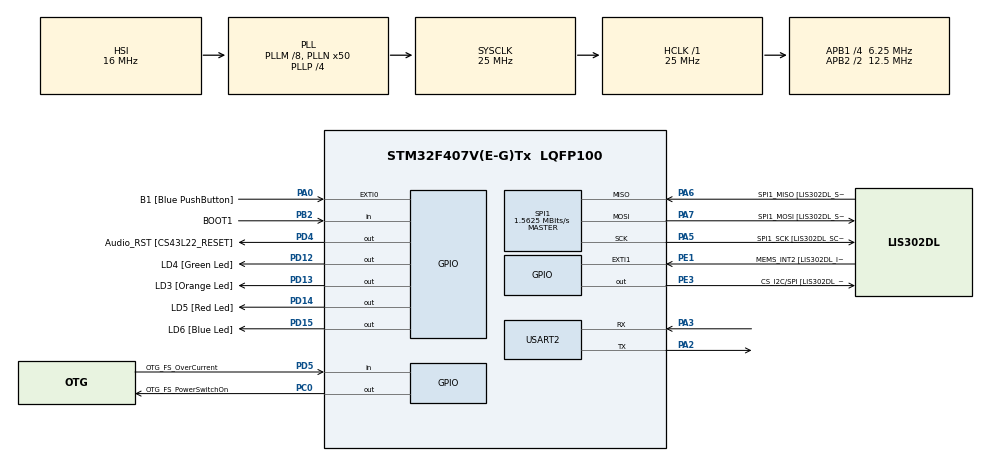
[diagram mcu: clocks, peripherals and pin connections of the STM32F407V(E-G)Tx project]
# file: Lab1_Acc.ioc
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Mcu.Family=STM32F4
Mcu.Name=STM32F407V(E-G)Tx
Mcu.Package=LQFP100
NVIC.PriorityGroup=NVIC_PRIORITYGROUP_0
PA0-WKUP.GPIO_Label=B1 [Blue PushButton]
PA0-WKUP.Signal=GPXTI0
PA10.GPIO_Label=OTG_FS_ID
PA10.GPIO_Mode=GPIO_MODE_AF_PP
PA10.GPIO_PuPd=GPIO_NOPULL
PA10.GPIO_Speed=GPIO_SPEED_FREQ_LOW
PA10.Signal=USB_OTG_FS_ID
PA11.GPIO_Label=OTG_FS_DM
PA11.GPIO_Mode=GPIO_MODE_AF_PP
PA11.GPIO_PuPd=GPIO_NOPULL
PA11.GPIO_Speed=GPIO_SPEED_FREQ_LOW
PA11.Signal=USB_OTG_FS_DM
PA12.GPIO_Label=OTG_FS_DP
PA12.GPIO_Mode=GPIO_MODE_AF_PP
PA12.GPIO_PuPd=GPIO_NOPULL
PA12.GPIO_Speed=GPIO_SPEED_FREQ_LOW
PA12.Signal=USB_OTG_FS_DP
PA13.GPIO_Label=SWDIO
PA13.Signal=SYS_JTMS-SWDIO
PA14.GPIO_Label=SWCLK
PA14.Signal=SYS_JTCK-SWCLK
PA2.Mode=Asynchronous
PA2.Signal=USART2_TX
PA3.Mode=Asynchronous
PA3.Signal=USART2_RX
PA4.GPIO_Label=I2S3_WS [CS43L22_LRCK]
PA4.GPIO_Mode=GPIO_MODE_AF_PP
PA4.GPIO_PuPd=GPIO_NOPULL
PA4.GPIO_Speed=GPIO_SPEED_FREQ_LOW
PA4.Signal=I2S3_WS
PA5.GPIO_Label=SPI1_SCK [LIS302DL_SCL/SPC]
PA5.GPIO_Mode=GPIO_MODE_AF_PP
PA5.GPIO_PuPd=GPIO_NOPULL
PA5.GPIO_Speed=GPIO_SPEED_FREQ_LOW
PA5.Mode=Full_Duplex_Master
PA5.Signal=SPI1_SCK
PA6.GPIO_Label=SPI1_MISO [LIS302DL_SDO]
PA6.GPIO_Mode=GPIO_MODE_AF_PP
PA6.GPIO_PuPd=GPIO_NOPULL
PA6.GPIO_Speed=GPIO_SPEED_FREQ_LOW
PA6.Mode=Full_Duplex_Master
PA6.Signal=SPI1_MISO
PA7.GPIO_Label=SPI1_MOSI [LIS302DL_SDA/SDI/SDO]
PA7.GPIO_Mode=GPIO_MODE_AF_PP
PA7.GPIO_PuPd=GPIO_NOPULL
PA7.GPIO_Speed=GPIO_SPEED_FREQ_LOW
PA7.Mode=Full_Duplex_Master
PA7.Signal=SPI1_MOSI
PA9.GPIO_Label=VBUS_FS
PA9.GPIO_Mode=GPIO_MODE_INPUT
PA9.GPIO_PuPd=GPIO_NOPULL
PA9.Signal=USB_OTG_FS_VBUS
PB10.GPIO_Label=CLK_IN [MP45DT02_CLK]
PB10.GPIO_Mode=GPIO_MODE_AF_PP
PB10.GPIO_PuPd=GPIO_NOPULL
PB10.GPIO_Speed=GPIO_SPEED_FREQ_LOW
PB10.Signal=I2S2_CK
PB2.GPIO_Label=BOOT1
PB2.GPIO_Mode=GPIO_MODE_INPUT
PB2.GPIO_PuPd=GPIO_NOPULL
PB2.Signal=GPIO_Input
PB3.GPIO_Label=SWO
PB3.Signal=SYS_JTDO-SWO
PB6.GPIO_Label=Audio_SCL [CS43L22_SCL]
PB6.GPIO_Mode=GPIO_MODE_AF_OD
PB6.GPIO_PuPd=GPIO_NOPULL
PB6.GPIO_Speed=GPIO_SPEED_FREQ_LOW
PB6.Signal=I2C1_SCL
PB9.GPIO_Label=Audio_SDA [CS43L22_SDA]
PB9.GPIO_Mode=GPIO_MODE_AF_OD
PB9.GPIO_PuPd=GPIO_NOPULL
PB9.GPIO_Speed=GPIO_SPEED_FREQ_LOW
PB9.Signal=I2C1_SDA
PC0.GPIO_Label=OTG_FS_PowerSwitchOn
PC0.GPIO_PuPd=GPIO_NOPULL
PC0.GPIO_Speed=GPIO_SPEED_FREQ_LOW
PC0.PinState=GPIO_PIN_SET
PC0.Signal=GPIO_Output
PC10.GPIO_Label=I2S3_SCK [CS43L22_SCLK]
PC10.GPIO_Mode=GPIO_MODE_AF_PP
PC10.GPIO_PuPd=GPIO_NOPULL
PC10.GPIO_Speed=GPIO_SPEED_FREQ_LOW
PC10.Signal=I2S3_CK
PC12.GPIO_Label=I2S3_SD [CS43L22_SDIN]
PC12.GPIO_Mode=GPIO_MODE_AF_PP
PC12.GPIO_PuPd=GPIO_NOPULL
PC12.GPIO_Speed=GPIO_SPEED_FREQ_LOW
PC12.Signal=I2S3_SD
PC14-OSC32_IN.GPIO_Label=PC14-OSC32_IN
PC14-OSC32_IN.Signal=RCC_OSC32_IN
PC15-OSC32_OUT.GPIO_Label=PC15-OSC32_OUT
PC15-OSC32_OUT.Signal=RCC_OSC32_OUT
PC3.GPIO_Label=PDM_OUT [MP45DT02_DOUT]
PC3.GPIO_Mode=GPIO_MODE_AF_PP
PC3.GPIO_PuPd=GPIO_NOPULL
PC3.GPIO_Speed=GPIO_SPEED_FREQ_LOW
PC3.Signal=I2S2_SD
PC7.GPIO_Label=I2S3_MCK [CS43L22_MCLK]
PC7.GPIO_Mode=GPIO_MODE_AF_PP
PC7.GPIO_PuPd=GPIO_NOPULL
PC7.GPIO_Speed=GPIO_SPEED_FREQ_LOW
PC7.Signal=I2S3_MCK
PD12.GPIO_Label=LD4 [Green Led]
PD12.GPIO_PuPd=GPIO_NOPULL
PD12.GPIO_Speed=GPIO_SPEED_FREQ_LOW
PD12.Signal=GPIO_Output
PD13.GPIO_Label=LD3 [Orange Led]
PD13.GPIO_PuPd=GPIO_NOPULL
PD13.GPIO_Speed=GPIO_SPEED_FREQ_LOW
PD13.Signal=GPIO_Output
PD14.GPIO_Label=LD5 [Red Led]
PD14.GPIO_PuPd=GPIO_NOPULL
PD14.GPIO_Speed=GPIO_SPEED_FREQ_LOW
PD14.Signal=GPIO_Output
PD15.GPIO_Label=LD6 [Blue Led]
PD15.GPIO_PuPd=GPIO_NOPULL
PD15.GPIO_Speed=GPIO_SPEED_FREQ_LOW
PD15.Signal=GPIO_Output
PD4.GPIO_Label=Audio_RST [CS43L22_RESET]
PD4.GPIO_PuPd=GPIO_NOPULL
PD4.GPIO_Speed=GPIO_SPEED_FREQ_LOW
PD4.Signal=GPIO_Output
PD5.GPIO_Label=OTG_FS_OverCurrent
PD5.GPIO_Mode=GPIO_MODE_INPUT
PD5.GPIO_PuPd=GPIO_NOPULL
PD5.Signal=GPIO_Input
PE1.GPIO_Label=MEMS_INT2 [LIS302DL_INT2]
PE1.GPIO_ModeDefaultEXTI=GPIO_MODE_EVT_RISING
PE1.GPIO_PuPd=GPIO_NOPULL
PE1.Signal=GPXTI1
PE3.GPIO_Label=CS_I2C/SPI [LIS302DL_CS_I2C/SPI]
PE3.GPIO_PuPd=GPIO_NOPULL
PE3.GPIO_Speed=GPIO_SPEED_FREQ_LOW
PE3.Signal=GPIO_Output
PH0-OSC_IN.GPIO_Label=PH0-OSC_IN
PH0-OSC_IN.Signal=RCC_OSC_IN
PH1-OSC_OUT.GPIO_Label=PH1-OSC_OUT
PH1-OSC_OUT.Signal=RCC_OSC_OUT
ProjectManager.HeapSize=0x200
ProjectManager.StackSize=0x400
ProjectManager.TargetToolchain=SW4STM32
RCC.48MHZClocksFreq_Value=14285714.285714285
RCC.AHBFreq_Value=25000000
RCC.APB1CLKDivider=RCC_HCLK_DIV4
RCC.APB1Freq_Value=6250000
RCC.APB1TimFreq_Value=12500000
RCC.APB2CLKDivider=RCC_HCLK_DIV2
RCC.APB2Freq_Value=12500000
RCC.APB2TimFreq_Value=25000000
RCC.CortexFreq_Value=25000000
RCC.HCLKFreq_Value=25000000
RCC.HSE_VALUE=8000000
RCC.HSI_VALUE=16000000
RCC.LSE_VALUE=32768
RCC.PLLM=8
RCC.PLLN=50
RCC.PLLP=RCC_PLLP_DIV4
RCC.PLLQ=7
RCC.SYSCLKFreq_VALUE=25000000
RCC.SYSCLKSource=RCC_SYSCLKSOURCE_PLLCLK
RCC.VCOOutputFreq_Value=100000000
SPI1.BaudRatePrescaler=SPI_BAUDRATEPRESCALER_8
SPI1.CalculateBaudRate=1.5625 MBits/s
SPI1.DataSize=SPI_DATASIZE_8BIT
SPI1.Mode=SPI_MODE_MASTER
board=STM32F407G-DISC1

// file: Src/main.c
/**
  ******************************************************************************
  * File Name          : main.c
  * Description        : Main program body
  ******************************************************************************
  *
  * COPYRIGHT(c) 2559 STMicroelectronics
  *
  * Redistribution and use in source and binary forms, with or without modification,
  * are permitted provided that the following conditions are met:
  *   1. Redistributions of source code must retain the above copyright notice,
  *      this list of conditions and the following disclaimer.
  *   2. Redistributions in binary form must reproduce the above copyright notice,
  *      this list of conditions and the following disclaimer in the documentation
  *      and/or other materials provided with the distribution.
  *   3. Neither the name of STMicroelectronics nor the names of its contributors
  *      may be used to endorse or promote products derived from this software
  *      without specific prior written permission.
  *
  * THIS SOFTWARE IS PROVIDED BY THE COPYRIGHT HOLDERS AND CONTRIBUTORS "AS IS"
  * AND ANY EXPRESS OR IMPLIED WARRANTIES, INCLUDING, BUT NOT LIMITED TO, THE
  * IMPLIED WARRANTIES OF MERCHANTABILITY AND FITNESS FOR A PARTICULAR PURPOSE ARE
  * DISCLAIMED. IN NO EVENT SHALL THE COPYRIGHT HOLDER OR CONTRIBUTORS BE LIABLE
  * FOR ANY DIRECT, INDIRECT, INCIDENTAL, SPECIAL, EXEMPLARY, OR CONSEQUENTIAL
  * DAMAGES (INCLUDING, BUT NOT LIMITED TO, PROCUREMENT OF SUBSTITUTE GOODS OR
  * SERVICES; LOSS OF USE, DATA, OR PROFITS; OR BUSINESS INTERRUPTION) HOWEVER
  * CAUSED AND ON ANY THEORY OF LIABILITY, WHETHER IN CONTRACT, STRICT LIABILITY,
  * OR TORT (INCLUDING NEGLIGENCE OR OTHERWISE) ARISING IN ANY WAY OUT OF THE USE
  * OF THIS SOFTWARE, EVEN IF ADVISED OF THE POSSIBILITY OF SUCH DAMAGE.
  *
  ******************************************************************************
  */
#include "main.h"
#include "stm32f4xx_hal.h"

SPI_HandleTypeDef hspi1;

UART_HandleTypeDef huart2;

/* USER CODE BEGIN PV */
/* Private variables ---------------------------------------------------------*/

/* USER CODE END PV */

void SystemClock_Config(void);
void Error_Handler(void);
static void MX_GPIO_Init(void);
static void MX_USART2_UART_Init(void);
static void MX_SPI1_Init(void);

/* USER CODE BEGIN PFP */
/* Private function prototypes -----------------------------------------------*/

/* USER CODE END PFP */

/* USER CODE BEGIN 0 */
uint8_t address,data,x_accel,y_accel,z_accel;
int timeout = 1000,x_sign,y_sign,z_sign;
char x_str[10],y_str[10],z_str[10];
char x_str2[10],y_str2[10],z_str2[10];
/*Magic Happened, I need to declare this unused char array*/

void my_dtoc(double f,char * buffer){
    gcvt(f,10,buffer);
}

/* USER CODE END 0 */

int main(void)
{

  /* MCU Configuration----------------------------------------------------------*/

  /* Reset of all peripherals, Initializes the Flash interface and the Systick. */
  HAL_Init();

  /* Configure the system clock */
  SystemClock_Config();

  /* Initialize all configured peripherals */
  MX_GPIO_Init();
  MX_USART2_UART_Init();
  MX_SPI1_Init();

  /* USER CODE BEGIN 2 */
  /* ----------------------------------------
   #1 : Bring the CS pin low to activate the active device.
   #2 : Declare transmit address.
   #3 : Write data to register.
   #4 : Bring CS pin High again*/

  HAL_GPIO_WritePin(GPIOE, GPIO_PIN_3,GPIO_PIN_RESET);
  address = 0x20;data = 0x67;
  HAL_SPI_Transmit(&hspi1,&address,1,50);
  HAL_SPI_Transmit(&hspi1,&data,1,50);
  HAL_GPIO_WritePin(GPIOE, GPIO_PIN_3,GPIO_PIN_SET);

  /*Show LED for initializing complete*/
  HAL_GPIO_WritePin(GPIOD, GPIO_PIN_12,1);
  HAL_GPIO_WritePin(GPIOD, GPIO_PIN_13,1);
  HAL_GPIO_WritePin(GPIOD, GPIO_PIN_14,1);
  HAL_GPIO_WritePin(GPIOD, GPIO_PIN_15,1);

  /* USER CODE END 2 */
  /* Infinite loop */
  /* USER CODE BEGIN WHILE */
  while (1)
  {
	  /*Send Signal for Start Reading Value*/
	  HAL_GPIO_WritePin(GPIOE, GPIO_PIN_3,GPIO_PIN_RESET);

	  /*SPI Receive, read X-axis acceleration from address 0x29*/
	  address = 0x29+0x80;
	  HAL_SPI_Transmit(&hspi1,&address,1,50);
	  HAL_SPI_Receive(&hspi1,&x_accel,1,50);

	  /*SPI Receive, read Y-axis acceleration from address 0x2B*/
	  address = 0x2B+0x80;
	  HAL_SPI_Transmit(&hspi1,&address,1,50);
	  HAL_SPI_Receive(&hspi1,&y_accel,1,50);

	  /*SPI Receive, read Z-axis acceleration from address 0x2D*/
	  address = 0x2D+0x80;
	  HAL_SPI_Transmit(&hspi1,&address,1,50);
	  HAL_SPI_Receive(&hspi1,&z_accel,1,50);

	  /*Send Signal for End Reading Value*/
	  HAL_GPIO_WritePin(GPIOE, GPIO_PIN_3,GPIO_PIN_SET);

	  /*Convert -> +/-2g */
	  if (x_accel <= 67 && x_accel >= 65) { x_str[0]='1';x_str[1]='.';x_str[2]='0'; }
	  else if (x_accel >= 255 && x_accel <= 1) { x_str[0]='0';x_str[1]='.';x_str[2]='0'; }
	  else if (x_accel <= 124) { my_dtoc((x_accel/66.0),x_str); }
	  else { my_dtoc(((255-x_accel)/66.0),x_str); }

	  if (y_accel <= 67 && y_accel >= 65) { y_str[0]='1';y_str[1]='.';y_str[2]='0'; }
	  else if (y_accel >= 255 && y_accel <= 1) { y_str[0]='0';y_str[1]='.';y_str[2]='0'; }
	  else if (y_accel <= 124) { my_dtoc((y_accel/66.0),y_str); }
	  else { my_dtoc(((255-y_accel)/66.0),y_str); }

	  if (z_accel <= 67 && z_accel >= 65) { z_str[0]='1';z_str[1]='.';z_str[2]='0'; }
	  else if (z_accel >= 255 && z_accel <= 1) { z_str[0]='0';z_str[1]='.';z_str[2]='0'; }
	  else if (z_accel <= 124) { my_dtoc((z_accel/66.0),z_str); }
	  else { my_dtoc(((255-z_accel)/66.0),z_str); }

	  /*UART X-Axis Jobs*/
	  HAL_UART_Transmit(&huart2," X-Axis = ",10,timeout);
	  if (x_accel <= 256 && x_accel >=126) { HAL_UART_Transmit(&huart2,"-",1,timeout); }
	  else { HAL_UART_Transmit(&huart2,"+",1,timeout); }
	  if (x_str[1] == '.') { HAL_UART_Transmit(&huart2,&x_str,3,timeout); }
	  else { HAL_UART_Transmit(&huart2,"0.0",3,timeout);}
	  HAL_UART_Transmit(&huart2,"g",1,timeout);

	  /*UART Y-Axis Jobs*/
	  HAL_UART_Transmit(&huart2," | Y-Axis = ",12,timeout);
	  if (y_accel <= 256 && y_accel >=126) { HAL_UART_Transmit(&huart2,"-",1,timeout); }
	  else { HAL_UART_Transmit(&huart2,"+",1,timeout); }
	  if (y_str[1] == '.') { HAL_UART_Transmit(&huart2,&y_str,3,timeout); }
	  else { HAL_UART_Transmit(&huart2,"0.0",3,timeout);}
	  HAL_UART_Transmit(&huart2,"g",1,timeout);

	  /*UART Z-Axis Jobs*/
	  HAL_UART_Transmit(&huart2," | Z-Axis = ",12,timeout);
	  if (z_accel <= 256 && z_accel >=126) { HAL_UART_Transmit(&huart2,"-",1,timeout); }
	  else { HAL_UART_Transmit(&huart2,"+",1,timeout); }
	  if (z_str[1] == '.') { HAL_UART_Transmit(&huart2,&z_str,3,timeout); }
	  else { HAL_UART_Transmit(&huart2,"0.0",3,timeout);}
	  HAL_UART_Transmit(&huart2,"g",1,timeout);

	  HAL_UART_Transmit(&huart2,"\r\n",2,timeout);

	  /* USER CODE END WHILE */

  }

}

/** System Clock Configuration
*/
void SystemClock_Config(void)
{

  RCC_OscInitTypeDef RCC_OscInitStruct;
  RCC_ClkInitTypeDef RCC_ClkInitStruct;

    /**Configure the main internal regulator output voltage
    */
  __HAL_RCC_PWR_CLK_ENABLE();

  __HAL_PWR_VOLTAGESCALING_CONFIG(PWR_REGULATOR_VOLTAGE_SCALE1);

    /**Initializes the CPU, AHB and APB busses clocks
    */
  RCC_OscInitStruct.OscillatorType = RCC_OSCILLATORTYPE_HSI;
  RCC_OscInitStruct.HSIState = RCC_HSI_ON;
  RCC_OscInitStruct.HSICalibrationValue = 16;
  RCC_OscInitStruct.PLL.PLLState = RCC_PLL_ON;
  RCC_OscInitStruct.PLL.PLLSource = RCC_PLLSOURCE_HSI;
  RCC_OscInitStruct.PLL.PLLM = 8;
  RCC_OscInitStruct.PLL.PLLN = 50;
  RCC_OscInitStruct.PLL.PLLP = RCC_PLLP_DIV4;
  RCC_OscInitStruct.PLL.PLLQ = 7;
  if (HAL_RCC_OscConfig(&RCC_OscInitStruct) != HAL_OK)
  {
    Error_Handler();
  }

    /**Initializes the CPU, AHB and APB busses clocks
    */
  RCC_ClkInitStruct.ClockType = RCC_CLOCKTYPE_HCLK|RCC_CLOCKTYPE_SYSCLK
                              |RCC_CLOCKTYPE_PCLK1|RCC_CLOCKTYPE_PCLK2;
  RCC_ClkInitStruct.SYSCLKSource = RCC_SYSCLKSOURCE_PLLCLK;
  RCC_ClkInitStruct.AHBCLKDivider = RCC_SYSCLK_DIV1;
  RCC_ClkInitStruct.APB1CLKDivider = RCC_HCLK_DIV4;
  RCC_ClkInitStruct.APB2CLKDivider = RCC_HCLK_DIV2;

  if (HAL_RCC_ClockConfig(&RCC_ClkInitStruct, FLASH_LATENCY_0) != HAL_OK)
  {
    Error_Handler();
  }

    /**Configure the Systick interrupt time
    */
  HAL_SYSTICK_Config(HAL_RCC_GetHCLKFreq()/1000);

    /**Configure the Systick
    */
  HAL_SYSTICK_CLKSourceConfig(SYSTICK_CLKSOURCE_HCLK);

  /* SysTick_IRQn interrupt configuration */
  HAL_NVIC_SetPriority(SysTick_IRQn, 0, 0);
}

/* SPI1 init function */
static void MX_SPI1_Init(void)
{

  hspi1.Instance = SPI1;
  hspi1.Init.Mode = SPI_MODE_MASTER;
  hspi1.Init.Direction = SPI_DIRECTION_2LINES;
  hspi1.Init.DataSize = SPI_DATASIZE_8BIT;
  hspi1.Init.CLKPolarity = SPI_POLARITY_LOW;
  hspi1.Init.CLKPhase = SPI_PHASE_1EDGE;
  hspi1.Init.NSS = SPI_NSS_SOFT;
  hspi1.Init.BaudRatePrescaler = SPI_BAUDRATEPRESCALER_8;
  hspi1.Init.FirstBit = SPI_FIRSTBIT_MSB;
  hspi1.Init.TIMode = SPI_TIMODE_DISABLE;
  hspi1.Init.CRCCalculation = SPI_CRCCALCULATION_DISABLE;
  hspi1.Init.CRCPolynomial = 10;
  if (HAL_SPI_Init(&hspi1) != HAL_OK)
  {
    Error_Handler();
  }

}

/* USART2 init function */
static void MX_USART2_UART_Init(void)
{

  huart2.Instance = USART2;
  huart2.Init.BaudRate = 115200;
  huart2.Init.WordLength = UART_WORDLENGTH_8B;
  huart2.Init.StopBits = UART_STOPBITS_1;
  huart2.Init.Parity = UART_PARITY_NONE;
  huart2.Init.Mode = UART_MODE_TX_RX;
  huart2.Init.HwFlowCtl = UART_HWCONTROL_NONE;
  huart2.Init.OverSampling = UART_OVERSAMPLING_16;
  if (HAL_UART_Init(&huart2) != HAL_OK)
  {
    Error_Handler();
  }

}

/** Configure pins as
        * Analog
        * Input
        * Output
        * EVENT_OUT
        * EXTI
     PC3   ------> I2S2_SD
     PA4   ------> I2S3_WS
     PB10   ------> I2S2_CK
     PC7   ------> I2S3_MCK
     PA9   ------> USB_OTG_FS_VBUS
     PA10   ------> USB_OTG_FS_ID
     PA11   ------> USB_OTG_FS_DM
     PA12   ------> USB_OTG_FS_DP
     PC10   ------> I2S3_CK
     PC12   ------> I2S3_SD
     PB6   ------> I2C1_SCL
     PB9   ------> I2C1_SDA
*/
static void MX_GPIO_Init(void)
{

  GPIO_InitTypeDef GPIO_InitStruct;

  /* GPIO Ports Clock Enable */
  __HAL_RCC_GPIOE_CLK_ENABLE();
  __HAL_RCC_GPIOC_CLK_ENABLE();
  __HAL_RCC_GPIOH_CLK_ENABLE();
  __HAL_RCC_GPIOA_CLK_ENABLE();
  __HAL_RCC_GPIOB_CLK_ENABLE();
  __HAL_RCC_GPIOD_CLK_ENABLE();

  /*Configure GPIO pin Output Level */
  HAL_GPIO_WritePin(CS_I2C_SPI_GPIO_Port, CS_I2C_SPI_Pin, GPIO_PIN_RESET);

  /*Configure GPIO pin Output Level */
  HAL_GPIO_WritePin(OTG_FS_PowerSwitchOn_GPIO_Port, OTG_FS_PowerSwitchOn_Pin, GPIO_PIN_SET);

  /*Configure GPIO pin Output Level */
  HAL_GPIO_WritePin(GPIOD, LD4_Pin|LD3_Pin|LD5_Pin|LD6_Pin
                          |Audio_RST_Pin, GPIO_PIN_RESET);

  /*Configure GPIO pin : CS_I2C_SPI_Pin */
  GPIO_InitStruct.Pin = CS_I2C_SPI_Pin;
  GPIO_InitStruct.Mode = GPIO_MODE_OUTPUT_PP;
  GPIO_InitStruct.Pull = GPIO_NOPULL;
  GPIO_InitStruct.Speed = GPIO_SPEED_FREQ_LOW;
  HAL_GPIO_Init(CS_I2C_SPI_GPIO_Port, &GPIO_InitStruct);

  /*Configure GPIO pin : OTG_FS_PowerSwitchOn_Pin */
  GPIO_InitStruct.Pin = OTG_FS_PowerSwitchOn_Pin;
  GPIO_InitStruct.Mode = GPIO_MODE_OUTPUT_PP;
  GPIO_InitStruct.Pull = GPIO_NOPULL;
  GPIO_InitStruct.Speed = GPIO_SPEED_FREQ_LOW;
  HAL_GPIO_Init(OTG_FS_PowerSwitchOn_GPIO_Port, &GPIO_InitStruct);

  /*Configure GPIO pin : PDM_OUT_Pin */
  GPIO_InitStruct.Pin = PDM_OUT_Pin;
  GPIO_InitStruct.Mode = GPIO_MODE_AF_PP;
  GPIO_InitStruct.Pull = GPIO_NOPULL;
  GPIO_InitStruct.Speed = GPIO_SPEED_FREQ_LOW;
  GPIO_InitStruct.Alternate = GPIO_AF5_SPI2;
  HAL_GPIO_Init(PDM_OUT_GPIO_Port, &GPIO_InitStruct);

  /*Configure GPIO pin : B1_Pin */
  GPIO_InitStruct.Pin = B1_Pin;
  GPIO_InitStruct.Mode = GPIO_MODE_IT_RISING;
  GPIO_InitStruct.Pull = GPIO_NOPULL;
  HAL_GPIO_Init(B1_GPIO_Port, &GPIO_InitStruct);

  /*Configure GPIO pin : I2S3_WS_Pin */
  GPIO_InitStruct.Pin = I2S3_WS_Pin;
  GPIO_InitStruct.Mode = GPIO_MODE_AF_PP;
  GPIO_InitStruct.Pull = GPIO_NOPULL;
  GPIO_InitStruct.Speed = GPIO_SPEED_FREQ_LOW;
  GPIO_InitStruct.Alternate = GPIO_AF6_SPI3;
  HAL_GPIO_Init(I2S3_WS_GPIO_Port, &GPIO_InitStruct);

  /*Configure GPIO pin : BOOT1_Pin */
  GPIO_InitStruct.Pin = BOOT1_Pin;
  GPIO_InitStruct.Mode = GPIO_MODE_INPUT;
  GPIO_InitStruct.Pull = GPIO_NOPULL;
  HAL_GPIO_Init(BOOT1_GPIO_Port, &GPIO_InitStruct);

  /*Configure GPIO pin : CLK_IN_Pin */
  GPIO_InitStruct.Pin = CLK_IN_Pin;
  GPIO_InitStruct.Mode = GPIO_MODE_AF_PP;
  GPIO_InitStruct.Pull = GPIO_NOPULL;
  GPIO_InitStruct.Speed = GPIO_SPEED_FREQ_LOW;
  GPIO_InitStruct.Alternate = GPIO_AF5_SPI2;
  HAL_GPIO_Init(CLK_IN_GPIO_Port, &GPIO_InitStruct);

  /*Configure GPIO pins : LD4_Pin LD3_Pin LD5_Pin LD6_Pin
                           Audio_RST_Pin */
  GPIO_InitStruct.Pin = LD4_Pin|LD3_Pin|LD5_Pin|LD6_Pin
                          |Audio_RST_Pin;
  GPIO_InitStruct.Mode = GPIO_MODE_OUTPUT_PP;
  GPIO_InitStruct.Pull = GPIO_NOPULL;
  GPIO_InitStruct.Speed = GPIO_SPEED_FREQ_LOW;
  HAL_GPIO_Init(GPIOD, &GPIO_InitStruct);

  /*Configure GPIO pins : I2S3_MCK_Pin I2S3_SCK_Pin I2S3_SD_Pin */
  GPIO_InitStruct.Pin = I2S3_MCK_Pin|I2S3_SCK_Pin|I2S3_SD_Pin;
  GPIO_InitStruct.Mode = GPIO_MODE_AF_PP;
  GPIO_InitStruct.Pull = GPIO_NOPULL;
  GPIO_InitStruct.Speed = GPIO_SPEED_FREQ_LOW;
  GPIO_InitStruct.Alternate = GPIO_AF6_SPI3;
  HAL_GPIO_Init(GPIOC, &GPIO_InitStruct);

  /*Configure GPIO pin : VBUS_FS_Pin */
  GPIO_InitStruct.Pin = VBUS_FS_Pin;
  GPIO_InitStruct.Mode = GPIO_MODE_INPUT;
  GPIO_InitStruct.Pull = GPIO_NOPULL;
  HAL_GPIO_Init(VBUS_FS_GPIO_Port, &GPIO_InitStruct);

  /*Configure GPIO pins : OTG_FS_ID_Pin OTG_FS_DM_Pin OTG_FS_DP_Pin */
  GPIO_InitStruct.Pin = OTG_FS_ID_Pin|OTG_FS_DM_Pin|OTG_FS_DP_Pin;
  GPIO_InitStruct.Mode = GPIO_MODE_AF_PP;
  GPIO_InitStruct.Pull = GPIO_NOPULL;
  GPIO_InitStruct.Speed = GPIO_SPEED_FREQ_LOW;
  GPIO_InitStruct.Alternate = GPIO_AF10_OTG_FS;
  HAL_GPIO_Init(GPIOA, &GPIO_InitStruct);

  /*Configure GPIO pin : OTG_FS_OverCurrent_Pin */
  GPIO_InitStruct.Pin = OTG_FS_OverCurrent_Pin;
  GPIO_InitStruct.Mode = GPIO_MODE_INPUT;
  GPIO_InitStruct.Pull = GPIO_NOPULL;
  HAL_GPIO_Init(OTG_FS_OverCurrent_GPIO_Port, &GPIO_InitStruct);

  /*Configure GPIO pins : Audio_SCL_Pin Audio_SDA_Pin */
  GPIO_InitStruct.Pin = Audio_SCL_Pin|Audio_SDA_Pin;
  GPIO_InitStruct.Mode = GPIO_MODE_AF_OD;
  GPIO_InitStruct.Pull = GPIO_PULLUP;
  GPIO_InitStruct.Speed = GPIO_SPEED_FREQ_LOW;
  GPIO_InitStruct.Alternate = GPIO_AF4_I2C1;
  HAL_GPIO_Init(GPIOB, &GPIO_InitStruct);

  /*Configure GPIO pin : MEMS_INT2_Pin */
  GPIO_InitStruct.Pin = MEMS_INT2_Pin;
  GPIO_InitStruct.Mode = GPIO_MODE_EVT_RISING;
  GPIO_InitStruct.Pull = GPIO_NOPULL;
  HAL_GPIO_Init(MEMS_INT2_GPIO_Port, &GPIO_InitStruct);

}

void Error_Handler(void)
{
  while(1)
  {
  }
}

/************************ (C) COPYRIGHT STMicroelectronics *****END OF FILE****/
